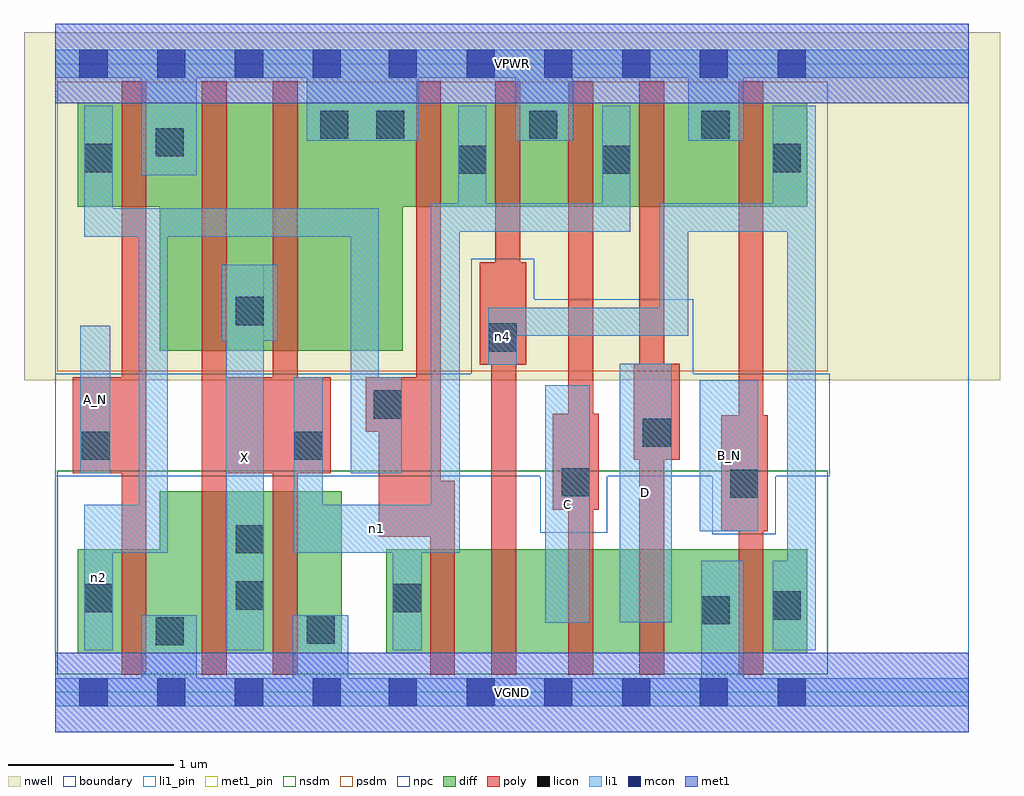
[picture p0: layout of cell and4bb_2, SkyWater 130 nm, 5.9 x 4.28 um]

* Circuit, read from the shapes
.subckt and4bb_2 A_N B_N C D VGND VPWR X n1 n2 n4
XM1 VGND A_N n2 VSUBS sky130_fd_pr__nfet_01v8 w=0.63 l=0.15
XM2 X n1 VGND VSUBS sky130_fd_pr__nfet_01v8 w=0.98 l=0.15 m=2
XM3 n3 n2 n1 VSUBS sky130_fd_pr__nfet_01v8 w=0.63 l=0.15
XM4 n5 n4 n3 VSUBS sky130_fd_pr__nfet_01v8 w=0.63 l=0.15
XM5 n6 C n5 VSUBS sky130_fd_pr__nfet_01v8 w=0.63 l=0.15
XM6 VGND D n6 VSUBS sky130_fd_pr__nfet_01v8 w=0.63 l=0.15
XM7 n4 B_N VGND VSUBS sky130_fd_pr__nfet_01v8 w=0.63 l=0.15
XM8 VPWR A_N n2 n7 sky130_fd_pr__pfet_01v8 w=0.63 l=0.15
XM9 X n1 VPWR n7 sky130_fd_pr__pfet_01v8 w=1.5 l=0.15 m=2
XM10 n1 n2 VPWR n7 sky130_fd_pr__pfet_01v8 w=0.63 l=0.15
XM11 VPWR n4 n1 n7 sky130_fd_pr__pfet_01v8 w=0.63 l=0.15
XM12 n1 C VPWR n7 sky130_fd_pr__pfet_01v8 w=0.63 l=0.15
XM13 VPWR D n1 n7 sky130_fd_pr__pfet_01v8 w=0.63 l=0.15
XM14 n4 B_N VPWR n7 sky130_fd_pr__pfet_01v8 w=0.63 l=0.15
.ends

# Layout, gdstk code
import gdstk
lib = gdstk.Library(unit=1e-6, precision=1e-09)
def R(c, l, rs):  # rectangles x0, y0, x1, y1
    for r in rs: c.add(gdstk.rectangle(r[:2], r[2:], *l))
def A(c, l, x, y, w, h, nx, ny, dx, dy):  # array of equal rectangles
    R(c, l, [(x+i*dx, y+j*dy, x+i*dx+w, y+j*dy+h) for i in range(nx) for j in range(ny)])
nwell = (64, 20)
diff = (65, 20)
poly = (66, 20)
licon = (66, 44)
li1_pin = (67, 16)
li1 = (67, 20)
mcon = (67, 44)
met1_pin = (68, 16)
met1 = (68, 20)
nsdm = (93, 44)
psdm = (94, 20)
npc = (95, 20)
boundary = (235, 4)

and4bb_2 = lib.new_cell('and4bb_2')
R(and4bb_2, nwell, [(-0.19,1.885,5.71,3.99), (0,1.885,5.52,3.99)])
R(and4bb_2, diff, [(0.135,0.235,1.73,0.865), (0.63,0.235,1.73,1.215), (2,0.235,4.545,0.865), (0.63,2.065,2.1,3.565), (0.135,2.935,4.545,3.565)])
R(and4bb_2, poly, [(0.4,0.105,0.55,3.695), (0.885,0.105,1.035,3.695), (1.315,0.105,1.465,3.695), (2.265,0.105,2.415,1.28), (2.635,0.105,2.785,2.6), (3.1,0.105,3.25,3.695), (3.53,0.105,3.68,3.695), (4.13,0.105,4.28,3.695), (1.955,0.94,2.33,1.905), (2.18,0.94,2.33,3.695), (4.025,0.975,4.305,1.675), (3.005,1.105,3.285,1.685), (0.105,1.325,0.55,1.905), (0.885,1.325,1.665,1.905), (3.495,1.405,3.775,1.985), (1.875,1.575,2.33,1.905), (2.565,1.98,2.845,2.6), (2.66,1.98,2.81,3.695)])
R(and4bb_2, licon, [(0.605,0.285,0.775,0.455), (1.52,0.295,1.69,0.465), (3.905,0.41,4.075,0.58), (4.335,0.44,4.505,0.61), (0.175,0.485,0.345,0.655), (2.04,0.485,2.21,0.655), (1.09,0.5,1.26,0.67), (1.09,0.84,1.26,1.01), (4.08,1.175,4.25,1.345), (3.06,1.185,3.23,1.355), (0.16,1.405,0.33,1.575), (1.445,1.405,1.615,1.575), (3.55,1.485,3.72,1.655), (1.925,1.655,2.095,1.825), (2.62,2.06,2.79,2.23), (1.09,2.22,1.26,2.39), (2.435,3.135,2.605,3.305), (3.305,3.135,3.475,3.305), (0.175,3.145,0.345,3.315), (4.335,3.145,4.505,3.315), (0.605,3.24,0.775,3.41), (1.6,3.345,1.77,3.515), (1.94,3.345,2.11,3.515), (2.865,3.345,3.035,3.515), (3.905,3.345,4.075,3.515)])
R(and4bb_2, li1_pin, [(1.03,0.255,1.26,2.585), (2.96,0.42,3.23,1.855), (3.41,0.425,3.725,1.985), (3.895,0.975,4.25,1.885), (0.15,1.325,0.33,2.215)])
R(and4bb_2, li1, [(0,-0.085,5.52,0.085), (0.52,-0.085,0.855,0.465), (1.435,-0.085,1.77,0.465), (3.905,-0.085,4.16,0.795), (0.175,0.255,0.345,1.135), (1.03,0.255,1.26,2.585), (2.04,0.255,2.215,1.135), (4.335,0.255,4.595,0.795), (4.425,0.255,4.595,3.545), (2.96,0.42,3.23,1.855), (3.41,0.425,3.725,1.985), (0.175,0.845,0.68,1.135), (0.505,0.845,0.68,2.925), (1.44,0.845,2.445,1.135), (1.44,0.845,1.615,1.905), (2.27,0.845,2.445,2.955), (3.895,0.975,4.25,1.885), (0.15,1.325,0.33,2.215), (1.785,1.325,1.955,2.925), (1.785,1.325,2.095,1.905), (2.615,1.98,2.79,2.325), (1.005,2.125,1.345,2.585), (2.615,2.155,3.825,2.325), (3.65,2.155,3.825,2.955), (0.175,2.755,1.955,2.925), (0.175,2.755,0.345,3.545), (2.27,2.785,3.475,2.955), (2.435,2.785,2.605,3.545), (3.305,2.785,3.475,3.545), (3.65,2.785,4.595,2.955), (4.335,2.785,4.595,3.545), (0.52,3.125,0.855,3.885), (1.52,3.335,2.195,3.885), (2.78,3.335,3.13,3.885), (3.825,3.335,4.16,3.885), (0,3.715,5.52,3.885)])
A(and4bb_2, mcon, 0.145, -0.085, 0.17, 0.17, 4, 2, 0.47, 3.8)
A(and4bb_2, mcon, 2.015, -0.085, 0.17, 0.17, 6, 2, 0.47, 3.8)
R(and4bb_2, met1_pin, [(0,-0.24,5.52,0.24), (0,3.56,5.52,4.04)])
R(and4bb_2, met1, [(0,-0.24,5.52,0.24), (0,3.56,5.52,4.04)])
R(and4bb_2, nsdm, [(0.01,0.11,4.67,1.34)])
R(and4bb_2, psdm, [(0.01,1.94,4.67,3.69)])
R(and4bb_2, npc, [(3.97,0.955,4.355,1.925), (2.93,0.965,3.335,2.375), (0,1.305,4.68,1.925), (2.515,1.305,2.895,2.62), (2.515,1.925,3.855,2.375)])
R(and4bb_2, boundary, [(0,0,5.52,3.8)])
and4bb_2.add(gdstk.Label('A_N', (0.24,1.77), layer=67, texttype=5))
and4bb_2.add(gdstk.Label('B_N', (4.072,1.43), layer=67, texttype=5))
and4bb_2.add(gdstk.Label('C', (3.095,1.137), layer=67, texttype=5))
and4bb_2.add(gdstk.Label('D', (3.567,1.205), layer=67, texttype=5))
and4bb_2.add(gdstk.Label('X', (1.145,1.42), layer=67, texttype=5))
and4bb_2.add(gdstk.Label('n2', (0.26,0.695), layer=67, texttype=5))
and4bb_2.add(gdstk.Label('n1', (1.942,0.99), layer=67, texttype=5))
and4bb_2.add(gdstk.Label('n4', (2.702,2.152), layer=67, texttype=5))
and4bb_2.add(gdstk.Label('VPWR', (2.76,3.8), layer=68, texttype=5))
and4bb_2.add(gdstk.Label('VGND', (2.76,0), layer=68, texttype=5))
and4bb_2.add(gdstk.Label('A_N', (0.24,1.77), layer=67, texttype=16))
and4bb_2.add(gdstk.Label('B_N', (4.072,1.43), layer=67, texttype=16))
and4bb_2.add(gdstk.Label('C', (3.095,1.137), layer=67, texttype=16))
and4bb_2.add(gdstk.Label('D', (3.567,1.205), layer=67, texttype=16))
and4bb_2.add(gdstk.Label('X', (1.145,1.42), layer=67, texttype=16))
and4bb_2.add(gdstk.Label('VPWR', (2.76,3.8), layer=68, texttype=16))
and4bb_2.add(gdstk.Label('VGND', (2.76,0), layer=68, texttype=16))

lib.write_gds('and4bb_2.gds')
